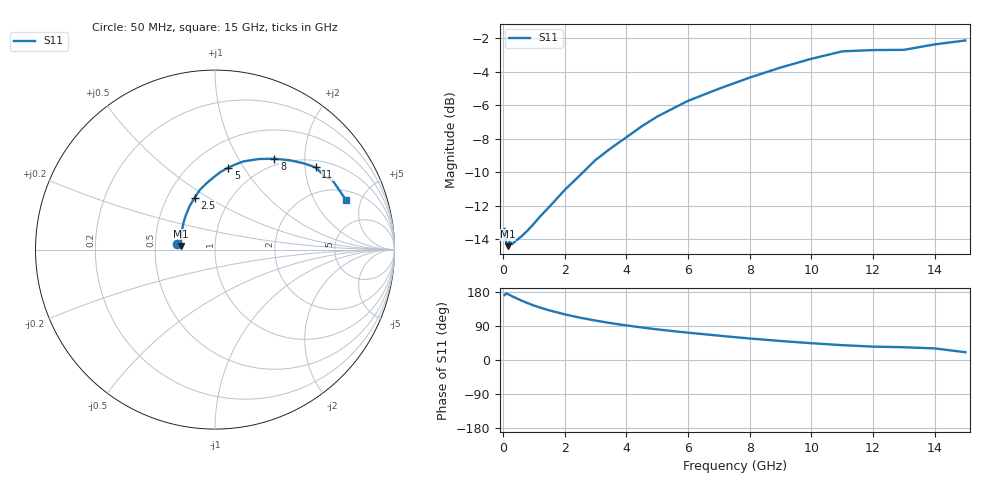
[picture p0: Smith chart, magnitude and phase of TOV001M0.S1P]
! SIEMENS Small Signal Semiconductors
! BAT15-03W
! Si Schottky Diode in SOD323
! IF = 1 mA
! S-Parameters:  May  1996
# GHz  S  MA  R  50
!  f  S11
! GHz  MAG  ANG
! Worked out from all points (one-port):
!   31 points, 50 MHz to 15 GHz, reference 50 ohm
!   lowest |S11| = -14.4 dB at 150 MHz (marker M1), VSWR 1.47, Z = 34.1 + j1.43 ohm
!   |S11| at or under -10 dB: start of sweep to 2.597 GHz
!   S11 on the Smith chart (normalised r, x): 50 MHz: 0.65, +0.04; 2.5 GHz: 0.68, +0.44; 5 GHz: 0.74, +0.86; 8 GHz: 0.90, +1.44; 11 GHz: 1.18, +2.28; 15 GHz: 2.65, +3.73
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0.05  0.2144 171.3
0.1  0.1957 175.7
0.15  0.1903 173.9
0.2  0.1959 172.3
0.25  0.195 170.3
0.3  0.1931 167.8
0.5  0.2004 160.6
0.6  0.2037 156.6
0.8  0.212 150.0
1.2  0.2333 138.3
1.5  0.2493 131.0
2  0.2799 120.5
2.5  0.3099 111.6
3  0.3439 104.1
3.5  0.373 97.2
4  0.4017 91.3
4.5  0.4335 85.9
5  0.4631 80.8
6  0.516 72.2
7  0.5606 64.2
8  0.6054 56.8
9  0.6484 50.2
10  0.6886 44.3
11  0.7247 39.2
12  0.7313 35.3
13  0.7323 33.7
14  0.7602 30.6
15  0.7811 20.5
